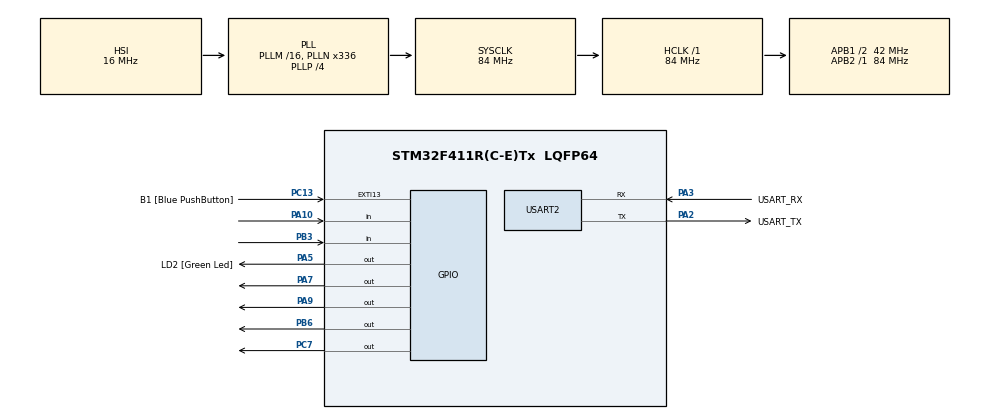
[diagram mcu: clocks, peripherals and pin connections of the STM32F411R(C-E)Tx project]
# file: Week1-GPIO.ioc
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Mcu.Family=STM32F4
Mcu.Name=STM32F411R(C-E)Tx
Mcu.Package=LQFP64
NVIC.PriorityGroup=NVIC_PRIORITYGROUP_0
PA10.Signal=GPIO_Input
PA13.GPIO_Label=TMS
PA13.Mode=Serial_Wire
PA13.Signal=SYS_JTMS-SWDIO
PA14.GPIO_Label=TCK
PA14.Mode=Serial_Wire
PA14.Signal=SYS_JTCK-SWCLK
PA2.GPIO_Label=USART_TX
PA2.Mode=Asynchronous
PA2.Signal=USART2_TX
PA3.GPIO_Label=USART_RX
PA3.Mode=Asynchronous
PA3.Signal=USART2_RX
PA5.GPIO_Label=LD2 [Green Led]
PA5.Signal=GPIO_Output
PA7.Signal=GPIO_Output
PA9.Signal=GPIO_Output
PB3.Signal=GPIO_Input
PB6.Signal=GPIO_Output
PC13-ANTI_TAMP.GPIO_Label=B1 [Blue PushButton]
PC13-ANTI_TAMP.GPIO_ModeDefaultEXTI=GPIO_MODE_IT_FALLING
PC13-ANTI_TAMP.Signal=GPXTI13
PC14-OSC32_IN.Mode=LSE-External-Oscillator
PC14-OSC32_IN.Signal=RCC_OSC32_IN
PC15-OSC32_OUT.Mode=LSE-External-Oscillator
PC15-OSC32_OUT.Signal=RCC_OSC32_OUT
PC7.Signal=GPIO_Output
PH0\ -\ OSC_IN.Mode=HSE-External-Clock-Source
PH0\ -\ OSC_IN.Signal=RCC_OSC_IN
PH1\ -\ OSC_OUT.Mode=HSE-External-Clock-Source
PH1\ -\ OSC_OUT.Signal=RCC_OSC_OUT
ProjectManager.HeapSize=0x200
ProjectManager.StackSize=0x400
ProjectManager.TargetToolchain=STM32CubeIDE
RCC.48MHZClocksFreq_Value=84000000
RCC.AHBFreq_Value=84000000
RCC.APB1CLKDivider=RCC_HCLK_DIV2
RCC.APB1Freq_Value=42000000
RCC.APB1TimFreq_Value=84000000
RCC.APB2Freq_Value=84000000
RCC.APB2TimFreq_Value=84000000
RCC.CortexFreq_Value=84000000
RCC.FLatency-AdvancedSettings=FLASH_LATENCY_2
RCC.HCLKFreq_Value=84000000
RCC.HSE_VALUE=8000000
RCC.HSI_VALUE=16000000
RCC.PLLN=336
RCC.PLLP=RCC_PLLP_DIV4
RCC.SYSCLKFreq_VALUE=84000000
RCC.SYSCLKSource=RCC_SYSCLKSOURCE_PLLCLK
RCC.VCOOutputFreq_Value=336000000
USART2.VirtualMode=VM_ASYNC
board=NUCLEO-F411RE

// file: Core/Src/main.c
/* USER CODE BEGIN Header */
/**
  ******************************************************************************
  * @file           : main.c
  * @brief          : Main program body
  ******************************************************************************
  * @attention
  *
  * <h2><center>&copy; Copyright (c) 2021 STMicroelectronics.
  * All rights reserved.</center></h2>
  *
  * This software component is licensed by ST under BSD 3-Clause license,
  * the "License"; You may not use this file except in compliance with the
  * License. You may obtain a copy of the License at:
  *                        opensource.org/licenses/BSD-3-Clause
  *
  ******************************************************************************
  */
/* USER CODE END Header */
#include "main.h"

UART_HandleTypeDef huart2;

void SystemClock_Config(void);
static void MX_GPIO_Init(void);
static void MX_USART2_UART_Init(void);

int main(void)
{

  /* MCU Configuration--------------------------------------------------------*/

  /* Reset of all peripherals, Initializes the Flash interface and the Systick. */
  HAL_Init();

  /* Configure the system clock */
  SystemClock_Config();

  /* Initialize all configured peripherals */
  MX_GPIO_Init();
  MX_USART2_UART_Init();
  /* USER CODE BEGIN 2 */
  GPIO_PinState SwitchHz[5];
  uint16_t LED1_Period = 1000;
  int ModeSpeedLed = 1;
  int ON_OFF = 1;
  int ModeBlinkLED = 1;
  uint16_t LED3_ON = 500;
  uint16_t LED3_OFF = 1500;
  uint32_t TimeStamp = 0;
  uint32_t TimeStamp3 = 0;
  uint32_t ButtonTimeStamp = 0;
  /* USER CODE END 2 */

  /* Infinite loop */
  while (1)
  {

    /* USER CODE BEGIN 3 */
	  if(HAL_GetTick() - ButtonTimeStamp >= 120){
		  ButtonTimeStamp = HAL_GetTick();
		  SwitchHz[0]= HAL_GPIO_ReadPin(GPIOA, GPIO_PIN_10);
		  SwitchHz[1]= HAL_GPIO_ReadPin(GPIOB, GPIO_PIN_3);
		  SwitchHz[2] = HAL_GPIO_ReadPin(GPIOB, GPIO_PIN_5);
		  SwitchHz[3] = HAL_GPIO_ReadPin(GPIOB, GPIO_PIN_4);
		  if(SwitchHz[4]== GPIO_PIN_SET && SwitchHz[0]== GPIO_PIN_RESET){ //s1
			  switch (ModeSpeedLed){
			  case 1:
				LED1_Period = 500;
				ModeSpeedLed += 1;
				break;
			  case 2:
				LED1_Period = 250;
				ModeSpeedLed += 1;
				break;
			  case 3:
				LED1_Period = 167;
				ModeSpeedLed += 1;
				break;
			  case 4:
				LED1_Period = 1000;
				ModeSpeedLed -= 3;
				break;
			  }
		  }
		  if(SwitchHz[4]== GPIO_PIN_SET && SwitchHz[1]== GPIO_PIN_RESET){ //s2
			  switch(ON_OFF){
			  case 1:
				  HAL_GPIO_WritePin(GPIOC, GPIO_PIN_7, GPIO_PIN_SET);
				  ON_OFF = 2;
				  break;
			  case 2:
				  HAL_GPIO_WritePin(GPIOC, GPIO_PIN_7, GPIO_PIN_RESET);
				  ON_OFF = 1;
				  break;
			  }
		  }
		  if(SwitchHz[4]== GPIO_PIN_SET && SwitchHz[2]== GPIO_PIN_RESET){ //s3
			  switch(ModeBlinkLED){
			  case 1:
				  LED3_ON = 1500;
				  LED3_OFF = 500;
				  HAL_GPIO_WritePin(GPIOB, GPIO_PIN_6, GPIO_PIN_RESET);
				  ModeBlinkLED = 2;
				  break;
			  case 2:
				  LED3_ON = 500;
				  LED3_OFF = 1500;
				  HAL_GPIO_WritePin(GPIOB, GPIO_PIN_6, GPIO_PIN_RESET);
				  ModeBlinkLED = 1;
				  break;
			  }

		  }
	  }
	  SwitchHz[4] = SwitchHz[3];
	  SwitchHz[4] = SwitchHz[2];
	  SwitchHz[4] = SwitchHz[1];
	  SwitchHz[4] = SwitchHz[0];
	  //RUN LED //mS
	  if(HAL_GetTick()-TimeStamp >= LED1_Period) //LED 1
	  {
		  TimeStamp = HAL_GetTick();
		  //Toggle_LED1
		  if(HAL_GPIO_ReadPin(GPIOA, GPIO_PIN_9)== GPIO_PIN_SET)
		  {
			  HAL_GPIO_WritePin(GPIOA, GPIO_PIN_9, GPIO_PIN_RESET);
		  }
		  else
		  {
			  HAL_GPIO_WritePin(GPIOA, GPIO_PIN_9, GPIO_PIN_SET);
		  }
	  }
	  if(HAL_GPIO_ReadPin(GPIOB, GPIO_PIN_6)== GPIO_PIN_RESET){
		  if(HAL_GetTick()-TimeStamp3 >= LED3_ON){
			  TimeStamp3 = HAL_GetTick();
			  HAL_GPIO_WritePin(GPIOB, GPIO_PIN_6, GPIO_PIN_SET);
		  }
	  }
	  if(HAL_GPIO_ReadPin(GPIOB, GPIO_PIN_6)== GPIO_PIN_SET){
		  if(HAL_GetTick()-TimeStamp3 >= LED3_OFF){
			  TimeStamp3 = HAL_GetTick();
			  HAL_GPIO_WritePin(GPIOB, GPIO_PIN_6, GPIO_PIN_RESET);
		  }
	  }
  }
  /* USER CODE END 3 */
}

void SystemClock_Config(void)
{
  RCC_OscInitTypeDef RCC_OscInitStruct = {0};
  RCC_ClkInitTypeDef RCC_ClkInitStruct = {0};

  /** Configure the main internal regulator output voltage
  */
  __HAL_RCC_PWR_CLK_ENABLE();
  __HAL_PWR_VOLTAGESCALING_CONFIG(PWR_REGULATOR_VOLTAGE_SCALE1);
  /** Initializes the RCC Oscillators according to the specified parameters
  * in the RCC_OscInitTypeDef structure.
  */
  RCC_OscInitStruct.OscillatorType = RCC_OSCILLATORTYPE_HSI;
  RCC_OscInitStruct.HSIState = RCC_HSI_ON;
  RCC_OscInitStruct.HSICalibrationValue = RCC_HSICALIBRATION_DEFAULT;
  RCC_OscInitStruct.PLL.PLLState = RCC_PLL_ON;
  RCC_OscInitStruct.PLL.PLLSource = RCC_PLLSOURCE_HSI;
  RCC_OscInitStruct.PLL.PLLM = 16;
  RCC_OscInitStruct.PLL.PLLN = 336;
  RCC_OscInitStruct.PLL.PLLP = RCC_PLLP_DIV4;
  RCC_OscInitStruct.PLL.PLLQ = 4;
  if (HAL_RCC_OscConfig(&RCC_OscInitStruct) != HAL_OK)
  {
    Error_Handler();
  }
  /** Initializes the CPU, AHB and APB buses clocks
  */
  RCC_ClkInitStruct.ClockType = RCC_CLOCKTYPE_HCLK|RCC_CLOCKTYPE_SYSCLK
                              |RCC_CLOCKTYPE_PCLK1|RCC_CLOCKTYPE_PCLK2;
  RCC_ClkInitStruct.SYSCLKSource = RCC_SYSCLKSOURCE_PLLCLK;
  RCC_ClkInitStruct.AHBCLKDivider = RCC_SYSCLK_DIV1;
  RCC_ClkInitStruct.APB1CLKDivider = RCC_HCLK_DIV2;
  RCC_ClkInitStruct.APB2CLKDivider = RCC_HCLK_DIV1;

  if (HAL_RCC_ClockConfig(&RCC_ClkInitStruct, FLASH_LATENCY_2) != HAL_OK)
  {
    Error_Handler();
  }
}

static void MX_USART2_UART_Init(void)
{

  huart2.Instance = USART2;
  huart2.Init.BaudRate = 115200;
  huart2.Init.WordLength = UART_WORDLENGTH_8B;
  huart2.Init.StopBits = UART_STOPBITS_1;
  huart2.Init.Parity = UART_PARITY_NONE;
  huart2.Init.Mode = UART_MODE_TX_RX;
  huart2.Init.HwFlowCtl = UART_HWCONTROL_NONE;
  huart2.Init.OverSampling = UART_OVERSAMPLING_16;
  if (HAL_UART_Init(&huart2) != HAL_OK)
  {
    Error_Handler();
  }

}

static void MX_GPIO_Init(void)
{
  GPIO_InitTypeDef GPIO_InitStruct = {0};

  /* GPIO Ports Clock Enable */
  __HAL_RCC_GPIOC_CLK_ENABLE();
  __HAL_RCC_GPIOH_CLK_ENABLE();
  __HAL_RCC_GPIOA_CLK_ENABLE();
  __HAL_RCC_GPIOB_CLK_ENABLE();

  /*Configure GPIO pin Output Level */
  HAL_GPIO_WritePin(GPIOA, LD2_Pin|GPIO_PIN_7|GPIO_PIN_9, GPIO_PIN_RESET);

  /*Configure GPIO pin Output Level */
  HAL_GPIO_WritePin(GPIOC, GPIO_PIN_7, GPIO_PIN_RESET);

  /*Configure GPIO pin Output Level */
  HAL_GPIO_WritePin(GPIOB, GPIO_PIN_6, GPIO_PIN_RESET);

  /*Configure GPIO pin : B1_Pin */
  GPIO_InitStruct.Pin = B1_Pin;
  GPIO_InitStruct.Mode = GPIO_MODE_IT_FALLING;
  GPIO_InitStruct.Pull = GPIO_NOPULL;
  HAL_GPIO_Init(B1_GPIO_Port, &GPIO_InitStruct);

  /*Configure GPIO pins : LD2_Pin PA7 PA9 */
  GPIO_InitStruct.Pin = LD2_Pin|GPIO_PIN_7|GPIO_PIN_9;
  GPIO_InitStruct.Mode = GPIO_MODE_OUTPUT_PP;
  GPIO_InitStruct.Pull = GPIO_NOPULL;
  GPIO_InitStruct.Speed = GPIO_SPEED_FREQ_LOW;
  HAL_GPIO_Init(GPIOA, &GPIO_InitStruct);

  /*Configure GPIO pin : PC7 */
  GPIO_InitStruct.Pin = GPIO_PIN_7;
  GPIO_InitStruct.Mode = GPIO_MODE_OUTPUT_PP;
  GPIO_InitStruct.Pull = GPIO_NOPULL;
  GPIO_InitStruct.Speed = GPIO_SPEED_FREQ_LOW;
  HAL_GPIO_Init(GPIOC, &GPIO_InitStruct);

  /*Configure GPIO pin : PA10 */
  GPIO_InitStruct.Pin = GPIO_PIN_10;
  GPIO_InitStruct.Mode = GPIO_MODE_INPUT;
  GPIO_InitStruct.Pull = GPIO_NOPULL;
  HAL_GPIO_Init(GPIOA, &GPIO_InitStruct);

  /*Configure GPIO pin : PB3 */
  GPIO_InitStruct.Pin = GPIO_PIN_3;
  GPIO_InitStruct.Mode = GPIO_MODE_INPUT;
  GPIO_InitStruct.Pull = GPIO_NOPULL;
  HAL_GPIO_Init(GPIOB, &GPIO_InitStruct);

  /*Configure GPIO pin : PB6 */
  GPIO_InitStruct.Pin = GPIO_PIN_6;
  GPIO_InitStruct.Mode = GPIO_MODE_OUTPUT_PP;
  GPIO_InitStruct.Pull = GPIO_NOPULL;
  GPIO_InitStruct.Speed = GPIO_SPEED_FREQ_LOW;
  HAL_GPIO_Init(GPIOB, &GPIO_InitStruct);

}

void Error_Handler(void)
{
  __disable_irq();
  while (1)
  {
  }
}

/************************ (C) COPYRIGHT STMicroelectronics *****END OF FILE****/
